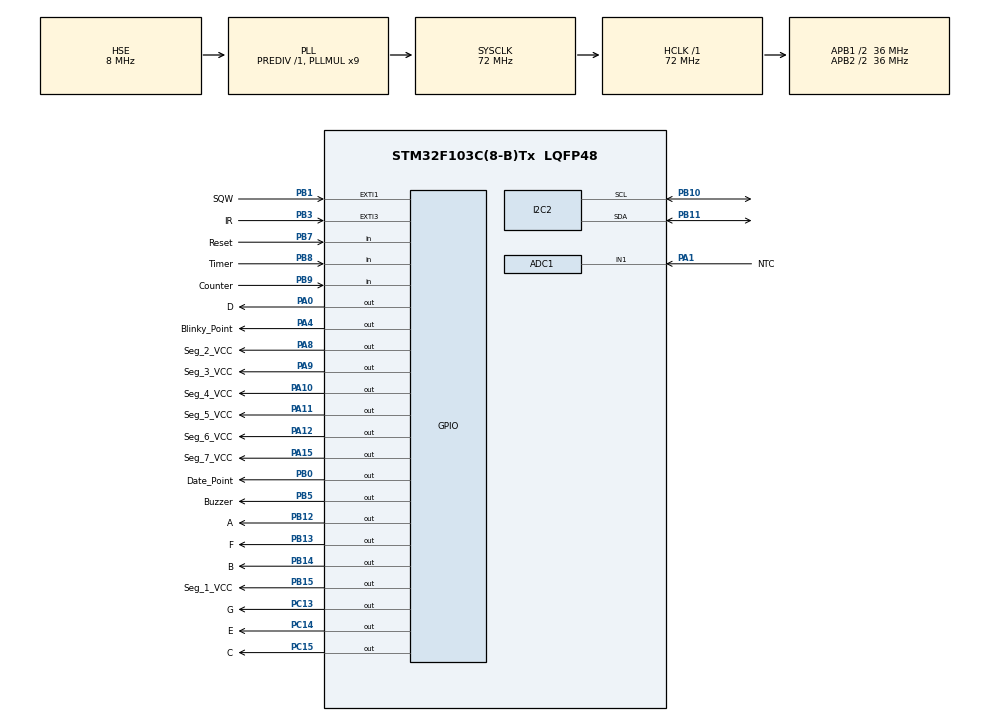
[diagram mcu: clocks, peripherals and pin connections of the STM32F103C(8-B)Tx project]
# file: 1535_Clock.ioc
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ADC1.Channel-0\#ChannelRegularConversion=ADC_CHANNEL_1
ADC1.NbrOfConversionFlag=1
ADC1.Rank-0\#ChannelRegularConversion=1
ADC1.SamplingTime-0\#ChannelRegularConversion=ADC_SAMPLETIME_1CYCLE_5
ADC1.master=1
Mcu.Family=STM32F1
Mcu.Name=STM32F103C(8-B)Tx
Mcu.Package=LQFP48
NVIC.EXTI1_IRQn=true\:0\:0\:false\:false\:true\:true\:true\:true
NVIC.EXTI3_IRQn=true\:0\:0\:false\:false\:true\:true\:true\:true
NVIC.PriorityGroup=NVIC_PRIORITYGROUP_4
NVIC.TIM2_IRQn=true\:0\:0\:false\:false\:true\:true\:true\:true
NVIC.TIM3_IRQn=true\:0\:0\:false\:false\:true\:true\:true\:true
NVIC.TIM4_IRQn=true\:0\:0\:false\:false\:true\:true\:true\:true
PA0-WKUP.GPIO_Label=D
PA0-WKUP.GPIO_Speed=GPIO_SPEED_FREQ_HIGH
PA0-WKUP.Signal=GPIO_Output
PA1.GPIO_Label=NTC
PA1.Signal=SharedAnalog_PA1
PA10.GPIO_Label=Seg_4_VCC
PA10.GPIO_Speed=GPIO_SPEED_FREQ_HIGH
PA10.Signal=GPIO_Output
PA11.GPIO_Label=Seg_5_VCC
PA11.GPIO_Speed=GPIO_SPEED_FREQ_HIGH
PA11.Signal=GPIO_Output
PA12.GPIO_Label=Seg_6_VCC
PA12.GPIO_Speed=GPIO_SPEED_FREQ_HIGH
PA12.Signal=GPIO_Output
PA13.Mode=Serial_Wire
PA13.Signal=SYS_JTMS-SWDIO
PA14.Mode=Serial_Wire
PA14.Signal=SYS_JTCK-SWCLK
PA15.GPIO_Label=Seg_7_VCC
PA15.GPIO_Speed=GPIO_SPEED_FREQ_HIGH
PA15.Signal=GPIO_Output
PA4.GPIO_Label=Blinky_Point
PA4.Signal=GPIO_Output
PA8.GPIO_Label=Seg_2_VCC
PA8.GPIO_Speed=GPIO_SPEED_FREQ_HIGH
PA8.Signal=GPIO_Output
PA9.GPIO_Label=Seg_3_VCC
PA9.GPIO_Speed=GPIO_SPEED_FREQ_HIGH
PA9.Signal=GPIO_Output
PB0.GPIO_Label=Date_Point
PB0.Signal=GPIO_Output
PB1.GPIO_Label=SQW
PB1.Signal=GPXTI1
PB10.Mode=I2C
PB10.Signal=I2C2_SCL
PB11.Mode=I2C
PB11.Signal=I2C2_SDA
PB12.GPIO_Label=A
PB12.GPIO_Speed=GPIO_SPEED_FREQ_HIGH
PB12.Signal=GPIO_Output
PB13.GPIO_Label=F
PB13.GPIO_Speed=GPIO_SPEED_FREQ_HIGH
PB13.Signal=GPIO_Output
PB14.GPIO_Label=B
PB14.GPIO_Speed=GPIO_SPEED_FREQ_HIGH
PB14.Signal=GPIO_Output
PB15.GPIO_Label=Seg_1_VCC
PB15.GPIO_Speed=GPIO_SPEED_FREQ_HIGH
PB15.Signal=GPIO_Output
PB3.GPIO_Label=IR
PB3.GPIO_ModeDefaultEXTI=GPIO_MODE_IT_FALLING
PB3.Signal=GPXTI3
PB5.GPIO_Label=Buzzer
PB5.Signal=GPIO_Output
PB7.GPIO_Label=Reset
PB7.Signal=GPIO_Input
PB8.GPIO_Label=Timer
PB8.Signal=GPIO_Input
PB9.GPIO_Label=Counter
PB9.Signal=GPIO_Input
PC13-TAMPER-RTC.GPIO_Label=G
PC13-TAMPER-RTC.GPIO_Speed=GPIO_SPEED_FREQ_HIGH
PC13-TAMPER-RTC.Signal=GPIO_Output
PC14-OSC32_IN.GPIO_Label=E
PC14-OSC32_IN.GPIO_Speed=GPIO_SPEED_FREQ_HIGH
PC14-OSC32_IN.Signal=GPIO_Output
PC15-OSC32_OUT.GPIO_Label=C
PC15-OSC32_OUT.GPIO_Speed=GPIO_SPEED_FREQ_HIGH
PC15-OSC32_OUT.Signal=GPIO_Output
PD0-OSC_IN.Mode=HSE-External-Oscillator
PD0-OSC_IN.Signal=RCC_OSC_IN
PD1-OSC_OUT.Mode=HSE-External-Oscillator
PD1-OSC_OUT.Signal=RCC_OSC_OUT
ProjectManager.HeapSize=0x200
ProjectManager.StackSize=0x400
ProjectManager.TargetToolchain=STM32CubeIDE
RCC.ADCPresc=RCC_ADCPCLK2_DIV4
RCC.AHBFreq_Value=72000000
RCC.APB1CLKDivider=RCC_HCLK_DIV2
RCC.APB1Freq_Value=36000000
RCC.APB1TimFreq_Value=72000000
RCC.APB2CLKDivider=RCC_HCLK_DIV2
RCC.APB2Freq_Value=36000000
RCC.APB2TimFreq_Value=72000000
RCC.HCLKFreq_Value=72000000
RCC.PLLMUL=RCC_PLL_MUL9
RCC.PLLSourceVirtual=RCC_PLLSOURCE_HSE
RCC.SYSCLKFreq_VALUE=72000000
RCC.SYSCLKSource=RCC_SYSCLKSOURCE_PLLCLK
RCC.USBFreq_Value=72000000
SH.SharedAnalog_PA1.0=GPIO_Analog
SH.SharedAnalog_PA1.1=ADC1_IN1,IN1
TIM2.CounterMode=TIM_COUNTERMODE_CENTERALIGNED3
TIM2.Period=499
TIM2.Prescaler=72-1
TIM3.Period=50000
TIM3.Prescaler=72-1
TIM4.Period=999
TIM4.Prescaler=71
VP_TIM2_VS_ClockSourceINT.Mode=Internal
VP_TIM3_VS_ClockSourceINT.Mode=Internal
VP_TIM4_VS_ClockSourceINT.Mode=Internal
board=custom

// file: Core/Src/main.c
/* USER CODE BEGIN Header */
/**
 ******************************************************************************
 * @file           : main.c
 * @brief          : Main program body
 ******************************************************************************
 * @attention
 *
 * Copyright (c) 2025 STMicroelectronics.
 * All rights reserved.
 *
 * This software is licensed under terms that can be found in the LICENSE file
 * in the root directory of this software component.
 * If no LICENSE file comes with this software, it is provided AS-IS.
 *
 ******************************************************************************
 */
/* USER CODE END Header */
#include "main.h"
#include "adc.h"
#include "i2c.h"
#include "tim.h"
#include "gpio.h"

/* USER CODE BEGIN Includes */
#include "DS3231.h"
#include "GeneralRemoote.h"
#include "Initialization.h"

/* USER CODE END Includes */

void SystemClock_Config(void);

int main(void)
{

  /* MCU Configuration--------------------------------------------------------*/

  /* Reset of all peripherals, Initializes the Flash interface and the Systick. */
  HAL_Init();

  /* Configure the system clock */
  SystemClock_Config();

  /* Initialize all configured peripherals */
  MX_GPIO_Init();
  MX_I2C2_Init();
  MX_TIM2_Init();
  MX_TIM3_Init();
  MX_ADC1_Init();
  MX_TIM4_Init();
  /* USER CODE BEGIN 2 */
  HAL_TIM_Base_Start_IT(&htim2);
  HAL_TIM_Base_Start_IT(&htim3);
  HAL_TIM_Base_Start_IT(&htim4);
  DS3231_ReadTime(&hi2c2, &time_Hour, &time_Minute, &time_Second);
  DS3231_EnableSQW1Hz(&hi2c2);
  for (int i = 0; i < 10; i++)
  {
    Segment_Set(0, i);
    Segment_Set(1, i);
    Segment_Set(2, i);
    Segment_Set(3, i);
    Segment_Set(4, i);
    Segment_Set(5, i);
    Segment_Set(6, 'N');
    HAL_Delay(200);
    HAL_GPIO_WritePin(blinky_Point, HIGH);
    HAL_GPIO_WritePin(date_Point, LOW);
  }
  Buzz(20);
  HAL_Delay(100);
  Buzz(20);
  /* USER CODE END 2 */

  /* Infinite loop */
  while (1)
  {

    /* USER CODE BEGIN 3 */

    if (work_Mode == MODE_NORMAL)
    {
      HAL_GPIO_WritePin(date_Point, LOW);

      if (PM_Mode)
      {
        if (time_Hour > 12)
        {
          Segment_Set(0, (time_Hour - 12) / 10);
          Segment_Set(1, (time_Hour - 12) % 10);
        }
        else
        {
          Segment_Set(0, time_Hour / 10);
          Segment_Set(1, time_Hour % 10);
        }
      }
      else
      {
        Segment_Set(0, time_Hour / 10);
        Segment_Set(1, time_Hour % 10);
      }
      Segment_Set(2, time_Minute / 10);
      Segment_Set(3, time_Minute % 10);
      Segment_Set(4, time_Second / 10);
      Segment_Set(5, time_Second % 10);
      HAL_GPIO_WritePin(blinky_Point, HIGH);
      Segment_Set(6, 'N');

      irRemote = Ir_GetData();
      if (irRemote != 0)
      {
        Haamin_Remote(irRemote, work_Mode);
      }
    }
    else if (work_Mode == MODE_OFF)
    {
      time_Out = 0;
      Segment_Set(0, 'N');
      Segment_Set(1, 'N');
      Segment_Set(2, 'N');
      Segment_Set(3, 'N');
      Segment_Set(4, 'N');
      Segment_Set(5, 'N');
      Segment_Set(6, 'N');

      irRemote = Ir_GetData();
      if (irRemote != 0)
      {
        Haamin_Remote(irRemote, work_Mode);
      }
    }
    else if (work_Mode == TIME_SETTING)
    {
      Segment_Set(6, 'N');
      if (time_Mode == SET_HOUR)
      {

        Segment_Set(2, time_Minute_t / 10);
        Segment_Set(3, time_Minute_t % 10);

        if (time_SecBit)
        {
          Segment_Set(0, timeValue / 10);
          Segment_Set(1, timeValue % 10);
        }
        else
        {
          Segment_Set(0, 'N');
          Segment_Set(1, 'N');
        }
      }
      else if (time_Mode == SET_MIN)
      {
        Segment_Set(0, time_Hour_t / 10);
        Segment_Set(1, time_Hour_t % 10);

        if (time_SecBit)
        {
          Segment_Set(2, timeValue / 10);
          Segment_Set(3, timeValue % 10);
        }
        else
        {
          Segment_Set(2, 'N');
          Segment_Set(3, 'N');
        }
      }

      irRemote = Ir_GetData();
      if (irRemote != 0)
      {
        Haamin_Remote(irRemote, work_Mode);
      }
    }
    else if (work_Mode == SELECT_LEVEL)
    {
      Segment_Set(0,'H');
      Segment_Set(1,'L');
      Segment_Set(2,chaleng_Level);
      Segment_Set(3,'N');
      Segment_Set(4,'N');
      Segment_Set(5,'N');
      Segment_Set(6,'N');
      HAL_GPIO_WritePin(blinky_Point, LOW);

      irRemote = Ir_GetData();
      if (irRemote != 0)
      {
        Haamin_Remote(irRemote, work_Mode);
      }
    }
    else if (work_Mode == SET_TARGET)
    {
      Segment_Set(0, 't');
      Segment_Set(1, 'n');
      HAL_GPIO_WritePin(blinky_Point, HIGH);
      if (time_Mode == SET_SEC)
      {

        Segment_Set(4, target_mili_Second / 10);
        Segment_Set(5, target_mili_Second % 10);

        if (time_SecBit)
        {
          Segment_Set(2, target_Second / 10);
          Segment_Set(3, target_Second % 10);
        }
        else
        {
          Segment_Set(2, 'N');
          Segment_Set(3, 'N');
        }
      }
      else if (time_Mode == SET_MILI)
      {
        Segment_Set(2, target_Second / 10);
        Segment_Set(3, target_Second % 10);

        if (time_SecBit)
        {
          Segment_Set(4, target_mili_Second / 10);
          Segment_Set(5, target_mili_Second % 10);
        }
        else
        {
          Segment_Set(4, 'N');
          Segment_Set(5, 'N');
        }
      }

      Segment_Set(6, 'N');
      irRemote = Ir_GetData();
      if (irRemote != 0)
      {
        Haamin_Remote(irRemote, work_Mode);
      }
    }
    else if (work_Mode == CHALENG)
    {
      time_Out = 0;
      if(HAL_GPIO_ReadPin(Timer_GPIO_Port,Timer_Pin)== GPIO_PIN_RESET)
      {
        HAL_Delay(50);
        if(HAL_GPIO_ReadPin(Timer_GPIO_Port,Timer_Pin)== GPIO_PIN_RESET)
        {
          if(timer_Run)
          {
            timer_Run = 0;
            resultCheck_Flag = 1;
          }
          else
          {
            timer_Run = 1;
          }
          Buzz(50);
        }while(HAL_GPIO_ReadPin(Timer_GPIO_Port,Timer_Pin)== GPIO_PIN_RESET);
      }

      if(HAL_GPIO_ReadPin(Reset_GPIO_Port,Reset_Pin)== GPIO_PIN_RESET)
      {
        HAL_Delay(50);
        if(HAL_GPIO_ReadPin(Reset_GPIO_Port,Reset_Pin)== GPIO_PIN_RESET)
        {
          timer_Second = 0;
          timer_mili_Second = 0;
          timer_Run = 0;
          Buzz(100);HAL_Delay(50);Buzz(100);
        }while(HAL_GPIO_ReadPin(Reset_GPIO_Port,Reset_Pin)== GPIO_PIN_RESET);
      }

      if(resultCheck_Flag)
      {
        resultCheck_Flag = 0;
        chaleng_Number =( timer_Second * 100) + timer_mili_Second;
        if(((chaleng_Number + chaleng_Level_Val) >= target_Number) && (target_Number >= (chaleng_Number - chaleng_Level_Val)))
        {
          timer_Second = target_Second;
          timer_mili_Second = target_mili_Second;
          win_Buzzer = 1;
        }
      }

      Segment_Set(0,'C');
      Segment_Set(1,'L');
      Segment_Set(2,timer_Second/10);
      Segment_Set(3,timer_Second%10);
      Segment_Set(4,timer_mili_Second/10);
      Segment_Set(5,timer_mili_Second%10);
      Segment_Set(6, 's');

      if(win_Buzzer)
      {
        win_Buzzer = 0;
        Segment_Set(0,'S');Segment_Set(1,'U');Segment_Set(2,'C');Segment_Set(3,'C');Segment_Set(4,'E');Segment_Set(5,'S');
        HAL_GPIO_WritePin(blinky_Point, LOW);
        Buzz(100);HAL_Delay(100);
       // Segment_Set(0,'N');Segment_Set(1,'N');Segment_Set(2,timer_Second/10);Segment_Set(3,timer_Second%10);Segment_Set(4,timer_mili_Second/10);Segment_Set(5,timer_mili_Second%10);
        Buzz(100);HAL_Delay(100);
        //Segment_Set(0,'S');Segment_Set(1,'U');Segment_Set(2,'C');Segment_Set(3,'C');Segment_Set(4,'E');Segment_Set(5,'S');
        Buzz(100);HAL_Delay(100);
        //Segment_Set(0,'N');Segment_Set(1,'N');Segment_Set(2,timer_Second/10);Segment_Set(3,timer_Second%10);Segment_Set(4,timer_mili_Second/10);Segment_Set(5,timer_mili_Second%10);
        Buzz(100);HAL_Delay(100);
        //Segment_Set(0,'S');Segment_Set(1,'U');Segment_Set(2,'C');Segment_Set(3,'C');Segment_Set(4,'E');Segment_Set(5,'S');
        Buzz(100);HAL_Delay(100);
        //Segment_Set(0,'N');Segment_Set(1,'N');Segment_Set(2,timer_Second/10);Segment_Set(3,timer_Second%10);Segment_Set(4,timer_mili_Second/10);Segment_Set(5,timer_mili_Second%10);
        Buzz(100);HAL_Delay(100);
        //Segment_Set(0,'S');Segment_Set(1,'U');Segment_Set(2,'C');Segment_Set(3,'C');Segment_Set(4,'E');Segment_Set(5,'S');
        HAL_Delay(400);
        HAL_GPIO_WritePin(blinky_Point, HIGH);
      }

      irRemote = Ir_GetData();
      if (irRemote != 0)
      {
        Haamin_Remote(irRemote, work_Mode);
      }

    }
  }
  /* USER CODE END 3 */
}

void SystemClock_Config(void)
{
  RCC_OscInitTypeDef RCC_OscInitStruct = {0};
  RCC_ClkInitTypeDef RCC_ClkInitStruct = {0};
  RCC_PeriphCLKInitTypeDef PeriphClkInit = {0};

  /** Initializes the RCC Oscillators according to the specified parameters
  * in the RCC_OscInitTypeDef structure.
  */
  RCC_OscInitStruct.OscillatorType = RCC_OSCILLATORTYPE_HSE;
  RCC_OscInitStruct.HSEState = RCC_HSE_ON;
  RCC_OscInitStruct.HSEPredivValue = RCC_HSE_PREDIV_DIV1;
  RCC_OscInitStruct.HSIState = RCC_HSI_ON;
  RCC_OscInitStruct.PLL.PLLState = RCC_PLL_ON;
  RCC_OscInitStruct.PLL.PLLSource = RCC_PLLSOURCE_HSE;
  RCC_OscInitStruct.PLL.PLLMUL = RCC_PLL_MUL9;
  if (HAL_RCC_OscConfig(&RCC_OscInitStruct) != HAL_OK)
  {
    Error_Handler();
  }

  /** Initializes the CPU, AHB and APB buses clocks
  */
  RCC_ClkInitStruct.ClockType = RCC_CLOCKTYPE_HCLK|RCC_CLOCKTYPE_SYSCLK
                              |RCC_CLOCKTYPE_PCLK1|RCC_CLOCKTYPE_PCLK2;
  RCC_ClkInitStruct.SYSCLKSource = RCC_SYSCLKSOURCE_PLLCLK;
  RCC_ClkInitStruct.AHBCLKDivider = RCC_SYSCLK_DIV1;
  RCC_ClkInitStruct.APB1CLKDivider = RCC_HCLK_DIV2;
  RCC_ClkInitStruct.APB2CLKDivider = RCC_HCLK_DIV2;

  if (HAL_RCC_ClockConfig(&RCC_ClkInitStruct, FLASH_LATENCY_2) != HAL_OK)
  {
    Error_Handler();
  }
  PeriphClkInit.PeriphClockSelection = RCC_PERIPHCLK_ADC;
  PeriphClkInit.AdcClockSelection = RCC_ADCPCLK2_DIV4;
  if (HAL_RCCEx_PeriphCLKConfig(&PeriphClkInit) != HAL_OK)
  {
    Error_Handler();
  }
}

/* USER CODE BEGIN 4 */

void Time_Update(void)
{
  if (++time_Second > 59)
  {
    time_Second = 0;
    if (++time_Minute > 59)
    {
      time_Minute = 0;

      if (++time_Hour > 23)
        time_Hour = 0;
    }
  }

  if (time_SecBit)
    time_SecBit = 0;
  else
    time_SecBit = 1;

  if (++time_Out > 90)
  {
    time_Out = 0;
    if (work_Mode != MODE_NORMAL)
    {
      DS3231_ReadTime(&hi2c2, &time_Hour, &time_Minute, &time_Second);
      work_Mode = MODE_NORMAL;
      // Buzz(50);
    }
  }
}

void Chaleng_Timer(void)
{
  if(timer_Run ==1)
  {
    if(++ timer_mili_Second > 99)
    {
      timer_mili_Second = 0;
      if(++timer_Second > 99)
        timer_Second = 0;
    }
  }
}
/* USER CODE END 4 */

void Error_Handler(void)
{
  __disable_irq();
  while (1)
  {
  }
}
